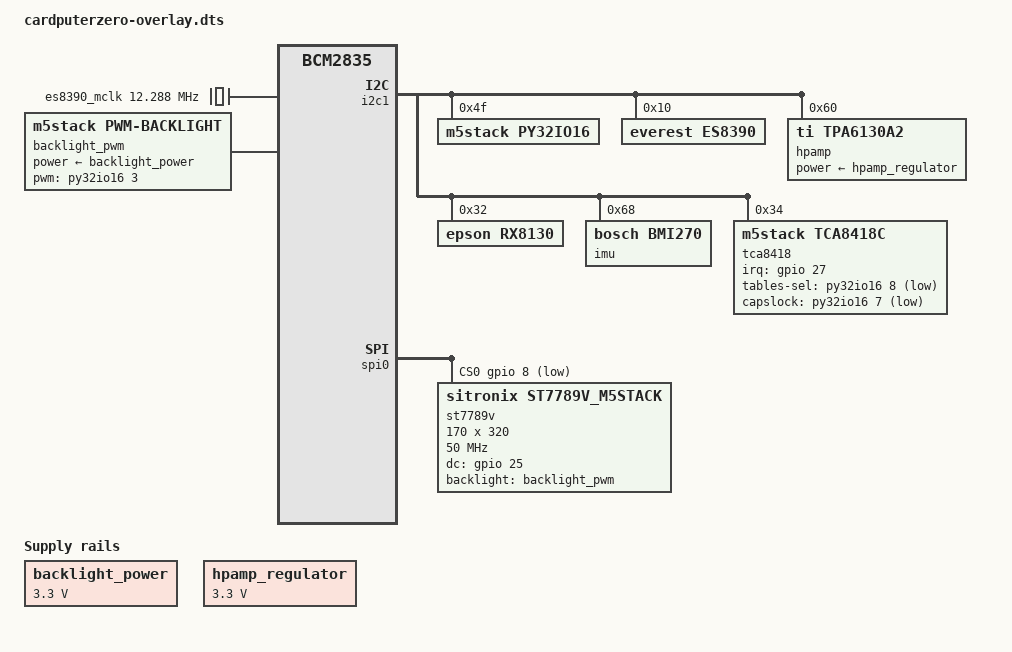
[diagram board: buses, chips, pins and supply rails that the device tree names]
// Definitions for ES8389 Audio HAT
/dts-v1/;
/plugin/;
// dtc -@ -I dts -O dtb -o es8389_m5stack.dtbo  es8389_m5stack.dts
/ {
    compatible = "brcm,bcm2835";
    
    fragment@0 {
        target = <&i2s_clk_producer>;
        __overlay__ {
            status = "okay";
        };
    };

    fragment@1 {
        target = <&gpio>;
        __overlay__ {
            st7789v_pins: st7789v_pins {
                    brcm,pins = <25>;
                    brcm,function = <1>;
                    brcm,pull = <0>;
            };
            tca8418_pins: tca8418_pins {
                    brcm,pins = <27 17 16>;
                    brcm,function = <0 1 1>;
                    brcm,pull = <2 0 0>;
            };
            spk_en_pins: spk_en_pins {
                    brcm,pins = <24>;
                    brcm,function = <1>;
                    brcm,pull = <0>;
            };
            cam_en_pins: cam_en_pins {
                    brcm,pins = <16>;
                    brcm,function = <1>;
                    brcm,pull = <0>;
            };
            // always_high_pin: always-high {
            //     gpio-hog;
            //     gpios = <24 0>;
            //     output-high;
            //     line-name = "always-high-pin";
            // };
            // cam_high_pin: cam-high {
            //     gpio-hog;
            //     gpios = <16 0>;
            //     output-high;
            //     line-name = "cam-high-pin";
            // };
        };
    };

    fragment@2 {
        target = <&i2c1>;
        __overlay__ {
            #address-cells = <1>;
            #size-cells = <0>;
            status = "okay";

            py32io16: gpio@4f {
                    compatible = "m5stack,py32io16";
                    reg = <0x4f>;
                    gpio-controller;
                    #gpio-cells = <2>;
                    ngpios = <16>;
                    #pwm-cells = <3>;
                    status = "okay";
            };
            es8390: es8390@10 {
                compatible = "everest,es8390";
                reg = <0x10>;
                #sound-dai-cells = <0>;
                pinctrl-names = "default";
                pinctrl-0 = <&spk_en_pins>;
                clock-names = "mclk";
                clocks = <&es8390_mclk>;
                // spk-enable-gpios = <&gpio 24 1>;
                status = "okay";
            };
			hpamp: hpamp@60 {
				compatible = "ti,tpa6130a2";
				reg = <0x60>;
                power-supply = <&hpamp_regulator>;
				status = "okay";
			};
            rx8130: rx8130@32 {
                compatible = "epson,rx8130";
                reg = <0x32>;
                status = "okay";
            };

            imu@68 {
                compatible = "bosch,bmi270";
                reg = <0x68>;
                status = "okay";
            };

            tca8418@34 {
                compatible = "m5stack,tca8418c"; 
                reg = <0x34>;
                pinctrl-names = "default";
                pinctrl-0 = <&tca8418_pins>;
                interrupt-parent = <&gpio>;
                interrupts = <27 2>; /* 中断io 下沿触发  */
                irq-gpios = <&gpio 27 0x00>; /* 中断io 下沿触发 */
                    
                keypad,num-rows = <5>;
                keypad,num-columns = <10>;

                // tables-sel-gpio = <&gpio 17 1>;
                // capslock-gpio = <&gpio 16 1>;
                tables-sel-gpio = <&py32io16 8 1>;
                capslock-gpio = <&py32io16 7 1>;

                sym-button-code = <0x43>; 
                fn-button-code = <0x42>;  
                asmux-button-code = <0x41>; 


                // switch-button-code = <73>; /* 切换按键 keycode */
                // interrupt-controller;
                /* row | column | key-code  例如: 04,08,0010 q 键 */
                /* row | column | key-code  例如: 04,08,0010 => Q 键 */
                linux,keymap = <
0x04000001 /* row=0x04 col=0x00 keycode=0x0001  KEY_ESC        Esc */
0x0409000f /* row=0x04 col=0x09 keycode=0x000f  KEY_TAB        Tab */

0x04040002 /* row=0x04 col=0x04 keycode=0x0002  KEY_1          1 */
0x00000003 /* row=0x00 col=0x00 keycode=0x0003  KEY_2          2 */
0x00010004 /* row=0x00 col=0x01 keycode=0x0004  KEY_3          3 */
0x00020005 /* row=0x00 col=0x02 keycode=0x0005  KEY_4          4 */
0x00030006 /* row=0x00 col=0x03 keycode=0x0006  KEY_5          5 */
0x00040007 /* row=0x00 col=0x04 keycode=0x0007  KEY_6          6 */
0x00050008 /* row=0x00 col=0x05 keycode=0x0008  KEY_7          7 */
0x00060009 /* row=0x00 col=0x06 keycode=0x0009  KEY_8          8 */
0x0007000a /* row=0x00 col=0x07 keycode=0x000a  KEY_9          9 */
0x0008000b /* row=0x00 col=0x08 keycode=0x000b  KEY_0          0 */
0x0009000e /* row=0x00 col=0x09 keycode=0x000e  KEY_BACKSPACE  Backspace */

/* 0x0403000f  sym功能键 */ 
0x01000010 /* row=0x01 col=0x00 keycode=0x0010  KEY_Q          Q */
0x01010011 /* row=0x01 col=0x01 keycode=0x0011  KEY_W          W */
0x01020012 /* row=0x01 col=0x02 keycode=0x0012  KEY_E          E */
0x01030013 /* row=0x01 col=0x03 keycode=0x0013  KEY_R          R */
0x01040014 /* row=0x01 col=0x04 keycode=0x0014  KEY_T          T */
0x01050015 /* row=0x01 col=0x05 keycode=0x0015  KEY_Y          Y */
0x01060016 /* row=0x01 col=0x06 keycode=0x0016  KEY_U          U */
0x01070017 /* row=0x01 col=0x07 keycode=0x0017  KEY_I          I */
0x01080018 /* row=0x01 col=0x08 keycode=0x0018  KEY_O          O */
0x01090019 /* row=0x01 col=0x09 keycode=0x0019  KEY_P          P */


0x0401002a /* row=0x04 col=0x01 keycode=0x002a  KEY_LEFTSHIFT    Left Shift */
0x0200001e /* row=0x02 col=0x00 keycode=0x001e  KEY_A          A */
0x0201001f /* row=0x02 col=0x01 keycode=0x001f  KEY_S          S */
0x02020020 /* row=0x02 col=0x02 keycode=0x0020  KEY_D          D */
0x02030021 /* row=0x02 col=0x03 keycode=0x0021  KEY_F          F */
0x02040022 /* row=0x02 col=0x04 keycode=0x0022  KEY_G          G */
0x02050023 /* row=0x02 col=0x05 keycode=0x0023  KEY_H          H */
0x02060024 /* row=0x02 col=0x06 keycode=0x0024  KEY_J          J */
0x02070025 /* row=0x02 col=0x07 keycode=0x0025  KEY_K          K */
0x02080026 /* row=0x02 col=0x08 keycode=0x0026  KEY_L          L */
0x0209001c /* row=0x02 col=0x09 keycode=0x001c  KEY_ENTER      Enter */

/* 0x0402002a  fn功能键 */
0x0300001d /* row=0x03 col=0x00 keycode=0x001d  KEY_LEFTCTRL   Left Ctrl */
0x03010038 /* row=0x03 col=0x01 keycode=0x0038  KEY_LEFTALT    Left Alt  */
0x0302002c /* row=0x03 col=0x02 keycode=0x002d  KEY_Z          Z */
0x0303002d /* row=0x03 col=0x03 keycode=0x002e  KEY_X          X */
0x0304002e /* row=0x03 col=0x04 keycode=0x002f  KEY_C          C */
0x0305002f /* row=0x03 col=0x05 keycode=0x0030  KEY_V          V */
0x03060030 /* row=0x03 col=0x06 keycode=0x0031  KEY_B          B */
0x03070031 /* row=0x03 col=0x07 keycode=0x0032  KEY_N          N */
0x03080032 /* row=0x03 col=0x08 keycode=0x0033  KEY_M          M */
0x03090039 /* row=0x03 col=0x09 keycode=0x0039  KEY_SPACE      Space */
>;
                /* row | column | key-code */
                linux,keymap1 = <
0x04000001 /* row=0x04 col=0x00 keycode=0x0001  KEY_ESC        Esc */
0x0409000f /* row=0x04 col=0x09 keycode=0x000f  KEY_TAB        Tab */


0x040400b7 /* row=0x04 col=0x04 keycode=0x00b7  KEY_F13          F13 */
0x000000b8 /* row=0x00 col=0x00 keycode=0x00b8  KEY_F14          F14 */
0x000100b9 /* row=0x00 col=0x01 keycode=0x00b9  KEY_F15          F15 */
0x000200ba /* row=0x00 col=0x02 keycode=0x00ba  KEY_F16          F16 */
0x000300bb /* row=0x00 col=0x03 keycode=0x00bb  KEY_F17          F17 */
0x000400bc /* row=0x00 col=0x04 keycode=0x00bc  KEY_F18          F18 */
0x000500bd /* row=0x00 col=0x05 keycode=0x00bd  KEY_F19          F19 */
0x000600be /* row=0x00 col=0x06 keycode=0x00be  KEY_F20          F20 */
0x000700bf /* row=0x00 col=0x07 keycode=0x00bf  KEY_F21          F21 */
0x000800c0 /* row=0x00 col=0x08 keycode=0x00c0  KEY_F22          F22 */
0x0009000e /* row=0x00 col=0x09 keycode=0x000e  KEY_BACKSPACE    Backspace */

/* 0x0403000f  sym功能键 */ 
0x010000c1 /* row=0x01 col=0x00 keycode=0x00c1  KEY_F23          F23 */
0x010100c2 /* row=0x01 col=0x01 keycode=0x00c2  KEY_F24          F24 */
0x010200c3 /* row=0x01 col=0x02 keycode=0x00c3  KEY_PLAYCD       Play CD */
0x010300c4 /* row=0x01 col=0x03 keycode=0x00c4  KEY_PAUSECD      Pause CD */
0x010400c5 /* row=0x01 col=0x04 keycode=0x00c5  KEY_PROG3        Prog3 */
0x010500c6 /* row=0x01 col=0x05 keycode=0x00c6  KEY_PROG4        Prog4 */
0x010600c7 /* row=0x01 col=0x06 keycode=0x00c7  KEY_DASHBOARD    Dashboard */
0x010700c8 /* row=0x01 col=0x07 keycode=0x00c8  KEY_SUSPEND      Suspend */
0x010800c9 /* row=0x01 col=0x08 keycode=0x00c9  KEY_CLOSE        Close */
0x010900ca /* row=0x01 col=0x09 keycode=0x00ca  KEY_PLAY         Play */


0x0401003a /* row=0x04 col=0x01 keycode=0x003a  KEY_CAPSLOCK     Caps Lock */
0x020000e7 /* row=0x02 col=0x00 keycode=0x00e7  KEY_SEND         send */
0x020100e8 /* row=0x02 col=0x01 keycode=0x00e8  KEY_REPLY        reply */
0x020200e9 /* row=0x02 col=0x02 keycode=0x00e9  KEY_FORWARDMAIL  FORWARDMAIL */
0x02030067 /* row=0x02 col=0x03 keycode=0x0067  KEY_UP           Up */
0x020400d1 /* row=0x02 col=0x04 keycode=0x00d1  KEY_BASSBOOST    Bass Boost */
0x020500d2 /* row=0x02 col=0x05 keycode=0x00d2  KEY_PRINT        Print */
0x020600d3 /* row=0x02 col=0x06 keycode=0x00d3  KEY_HP           HP */
0x020700d4 /* row=0x02 col=0x07 keycode=0x00d4  KEY_CAMERA       Camera */
0x020800d5 /* row=0x02 col=0x08 keycode=0x00d5  KEY_SOUND        Sound */
0x0209001c /* row=0x02 col=0x09 keycode=0x001c  KEY_ENTER        Enter */

/* 0x0402002a  fn功能键 */
0x0300001d /* row=0x03 col=0x00 keycode=0x001d  KEY_LEFTCTRL   Left Ctrl */
0x03010038 /* row=0x03 col=0x01 keycode=0x0038  KEY_LEFTALT    Left Alt  */
0x03020069 /* row=0x03 col=0x02 keycode=0x0069  KEY_LEFT         Left */
0x0303006c /* row=0x03 col=0x03 keycode=0x006c  KEY_DOWN         Down */
0x0304006a /* row=0x03 col=0x04 keycode=0x006a  KEY_RIGHT        Right */
0x030500d6 /* row=0x03 col=0x05 keycode=0x00d6  KEY_QUESTION     Question */
0x030600d7 /* row=0x03 col=0x06 keycode=0x00d7  KEY_EMAIL        Email */
0x030700d8 /* row=0x03 col=0x07 keycode=0x00d8  KEY_CHAT         Chat */
0x030800d9 /* row=0x03 col=0x08 keycode=0x00d9  KEY_SEARCH       Search */
0x03090039 /* row=0x03 col=0x09 keycode=0x0039  KEY_SPACE        Space */
>;
                linux,keymap2 = <
0x04000001 /* row=0x04 col=0x00 keycode=0x0001  KEY_ESC        Esc */
0x0409000f /* row=0x04 col=0x09 keycode=0x000f  KEY_TAB        Tab */


0x0404003b /* row=0x04 col=0x04 keycode=0x003b  KEY_F1           F1 */
0x0000003c /* row=0x00 col=0x00 keycode=0x003c  KEY_F2           F2 */
0x0001003d /* row=0x00 col=0x01 keycode=0x003d  KEY_F3           F15 */
0x0002003e /* row=0x00 col=0x02 keycode=0x003e  KEY_F4           F16 */
0x0003003f /* row=0x00 col=0x03 keycode=0x003f  KEY_F5           F17 */
0x00040040 /* row=0x00 col=0x04 keycode=0x0040  KEY_F6           F18 */
0x00050041 /* row=0x00 col=0x05 keycode=0x0041  KEY_F7           F19 */
0x00060042 /* row=0x00 col=0x06 keycode=0x0042  KEY_F8           F20 */
0x00070043 /* row=0x00 col=0x07 keycode=0x0043  KEY_F9           F21 */
0x00080044 /* row=0x00 col=0x08 keycode=0x0044  KEY_F10          F22 */
0x0009006f /* row=0x00 col=0x09 keycode=0x006f  KEY_DELETE       del */

/* 0x0403000f  sym功能键 */ 
0x01000010 /* row=0x01 col=0x00 keycode=0x0010  KEY_Q          Q */
0x01010011 /* row=0x01 col=0x01 keycode=0x0011  KEY_W          W */
0x01020012 /* row=0x01 col=0x02 keycode=0x0012  KEY_E          E */
0x01030013 /* row=0x01 col=0x03 keycode=0x0013  KEY_R          R */
0x01040014 /* row=0x01 col=0x04 keycode=0x0014  KEY_T          T */
0x01050015 /* row=0x01 col=0x05 keycode=0x0015  KEY_Y          Y */
0x01060016 /* row=0x01 col=0x06 keycode=0x0016  KEY_U          U */
0x01070017 /* row=0x01 col=0x07 keycode=0x0017  KEY_I          I */
0x01080057 /* row=0x01 col=0x08 keycode=0x0057  KEY_F11        F11 */
0x01090058 /* row=0x01 col=0x09 keycode=0x0058  KEY_F12        F12 */


0x04012a3a /* KEY_LEFTSHIFT/KEY_CAPSLOCK 复用，单击KEY_LEFTSHIFT,双击KEY_CAPSLOCK */
0x0200001e /* row=0x02 col=0x00 keycode=0x001e  KEY_A          A */
0x0201001f /* row=0x02 col=0x01 keycode=0x001f  KEY_S          S */
0x02020020 /* row=0x02 col=0x02 keycode=0x0020  KEY_D          D */
0x02030067 /* row=0x02 col=0x03 keycode=0x0067  KEY_UP          F */
0x02040022 /* row=0x02 col=0x04 keycode=0x0022  KEY_G          G */
0x02050023 /* row=0x02 col=0x05 keycode=0x0023  KEY_H          H */
0x02060024 /* row=0x02 col=0x06 keycode=0x0024  KEY_J          J */
0x02070068 /* row=0x02 col=0x07 keycode=0x0068  KEY_PAGEUP          K */
0x0208006d /* row=0x02 col=0x08 keycode=0x006d  KEY_PAGEDOWN          L */
0x0209001c /* row=0x02 col=0x09 keycode=0x001c  KEY_ENTER      Enter */

/* 0x0402002a  fn功能键 */
0x0300001d /* row=0x03 col=0x00 keycode=0x001d  KEY_LEFTCTRL   Left Ctrl */
0x03010038 /* row=0x03 col=0x01 keycode=0x0038  KEY_LEFTALT    Left Alt  */
0x03020069 /* row=0x03 col=0x02 keycode=0x0069  KEY_LEFT          Z */
0x0303006c /* row=0x03 col=0x03 keycode=0x006c  KEY_DOWN          X */
0x0304006a /* row=0x03 col=0x04 keycode=0x006a  KEY_RIGHT          C */
0x0305002f /* row=0x03 col=0x05 keycode=0x0030  KEY_V          V */
0x03060030 /* row=0x03 col=0x06 keycode=0x0031  KEY_B          B */
0x03070066 /* row=0x03 col=0x07 keycode=0x0066  KEY_HOME          N */
0x0308006e /* row=0x03 col=0x08 keycode=0x006e  KEY_INSERT          M */
0x03090039 /* row=0x03 col=0x09 keycode=0x0039  KEY_SPACE      Space */
>;
            };
        };
    };


    fragment@3 {
        target-path = "/";
        __overlay__ {
            es8390_mclk: es8390_mclk {
                compatible = "fixed-clock";
                #clock-cells = <0>;
                clock-frequency = <12288000>;
            };

            backlight_power: backlight-regulator {
                compatible = "regulator-fixed";
                regulator-name = "backlight-vcc";
                regulator-min-microvolt = <3300000>;
                regulator-max-microvolt = <3300000>;
                regulator-boot-on;  /* 启动时就开启 */
            };
            hpamp_regulator: hpamp-regulator {
                compatible = "regulator-fixed";
                regulator-name = "ext_3v3_out";
                regulator-min-microvolt = <3300000>;
                regulator-max-microvolt = <3300000>;
                regulator-boot-on;
            };
            backlight_pwm: backlight {
                compatible = "m5stack,pwm-backlight";
                pwms = <&py32io16 3 2000000 0>;
                
                brightness-levels = <
                    0  20000  40000  60000  80000 100000 120000 140000 160000 180000
                200000 220000 240000 260000 280000 300000 320000 340000 360000 380000
                400000 420000 440000 460000 480000 500000 520000 540000 560000 580000
                600000 620000 640000 660000 680000 700000 720000 740000 760000 780000
                800000 820000 840000 860000 880000 900000 920000 940000 960000 980000
                1000000 1020000 1040000 1060000 1080000 1100000 1120000 1140000 1160000 1180000
                1200000 1220000 1240000 1260000 1280000 1300000 1320000 1340000 1360000 1380000
                1400000 1420000 1440000 1460000 1480000 1500000 1520000 1540000 1560000 1580000
                1600000 1620000 1640000 1660000 1680000 1700000 1720000 1740000 1760000 1780000
                1800000 1820000 1840000 1860000 1880000 1900000 1920000 1940000 1960000 1980000
                2000000
                >;
                default-brightness-level = <75>;
                
                power-supply = <&backlight_power>;
                /* 强制初始化时开启背光 */
                force-enable-on-init;
            };
            sound {
                compatible = "simple-audio-card"; 
                simple-audio-card,name = "ES8388-Audio";
                status = "okay";
                
                simple-audio-card,dai-link {
                    format = "i2s";
                    bitclock-master = <&dailink0_master>;
                    frame-master = <&dailink0_master>;
                    
                    dailink0_master: cpu {
                        sound-dai = <&i2s_clk_producer>;
                    };
                    
                    dailink0_slave: codec {
                        sound-dai = <&es8390>;
                    };
                };
            };

            // sound {
            //     compatible = "simple-audio-card";
            //     simple-audio-card,name = "ES8388-Audio";
            //     status = "okay";

            //     /* 耳机插孔 widget */
            //     simple-audio-card,widgets =
            //         "Headphone", "Headphone Jack",
            //         "Microphone", "Mic Jack";

            //     /* DAPM 路由：
            //     *   ES8389.HPOL/HPOR  →  TPA6130A2.LEFTIN/RIGHTIN
            //     *   TPA6130A2.HPLEFT/HPRIGHT → 耳机插孔
            //     *   MIC Jack → ES8389.INPUT1/INPUT2
            //     */
            //     simple-audio-card,routing =
            //         "LEFTIN",         "HPOL",
            //         "RIGHTIN",        "HPOR",
            //         "Headphone Jack", "HPLEFT",
            //         "Headphone Jack", "HPRIGHT",
            //         "INPUT1",         "Mic Jack",
            //         "INPUT2",         "Mic Jack";

            //     /* 把功放作为 aux-dev 挂入声卡，由 DAPM 自动使能 */
            //     simple-audio-card,aux-devs = <&hpamp>;

            //     simple-audio-card,dai-link {
            //         format = "i2s";
            //         bitclock-master = <&dailink0_master>;
            //         frame-master = <&dailink0_master>;

            //         dailink0_master: cpu {
            //             sound-dai = <&i2s_clk_producer>;
            //         };

            //         dailink0_slave: codec {
            //             sound-dai = <&es8390>;
            //         };
            //     };
            // };

        };
        
    };

    fragment@4 {
        target = <&spi0>;
        __overlay__ {
            status = "okay";

            #address-cells = <1>;
            #size-cells = <0>;

            num-cs = <3>;
            cs-gpios = <&gpio 8 1>,
                        <&gpio 7 1>,
                        <&gpio 22 1>;

            st7789v@0 {
                compatible = "sitronix,st7789v_m5stack";
                reg = <0>;
                pinctrl-names = "default";
                pinctrl-0 = <&st7789v_pins>;
                backlight = <&backlight_pwm>;


                spi-max-frequency = <50000000>;
                txbuflen = <32768>;
                
                dc-gpios = <&gpio 25 0>;
                // reset-gpios = <&py32io16 4 1>;

                ram-x-offset = <0>;
                ram-y-offset = <35>;

                buswidth = <8>;
                width = <170>;
                height = <320>;
                rotate = <90>;
                fps = <60>;
                // bgr;
                
                debug = <0>;
            };

            // spidev@2 {
            //     compatible = "spidev";
            //     reg = <2>;
            //     spi-max-frequency = <20000000>;
            //     status = "disabled";
            // };
        };
    };

    fragment@5 {
        target = <&spidev0>;
        __overlay__ {
            status = "disabled";
        };
    };

























};












